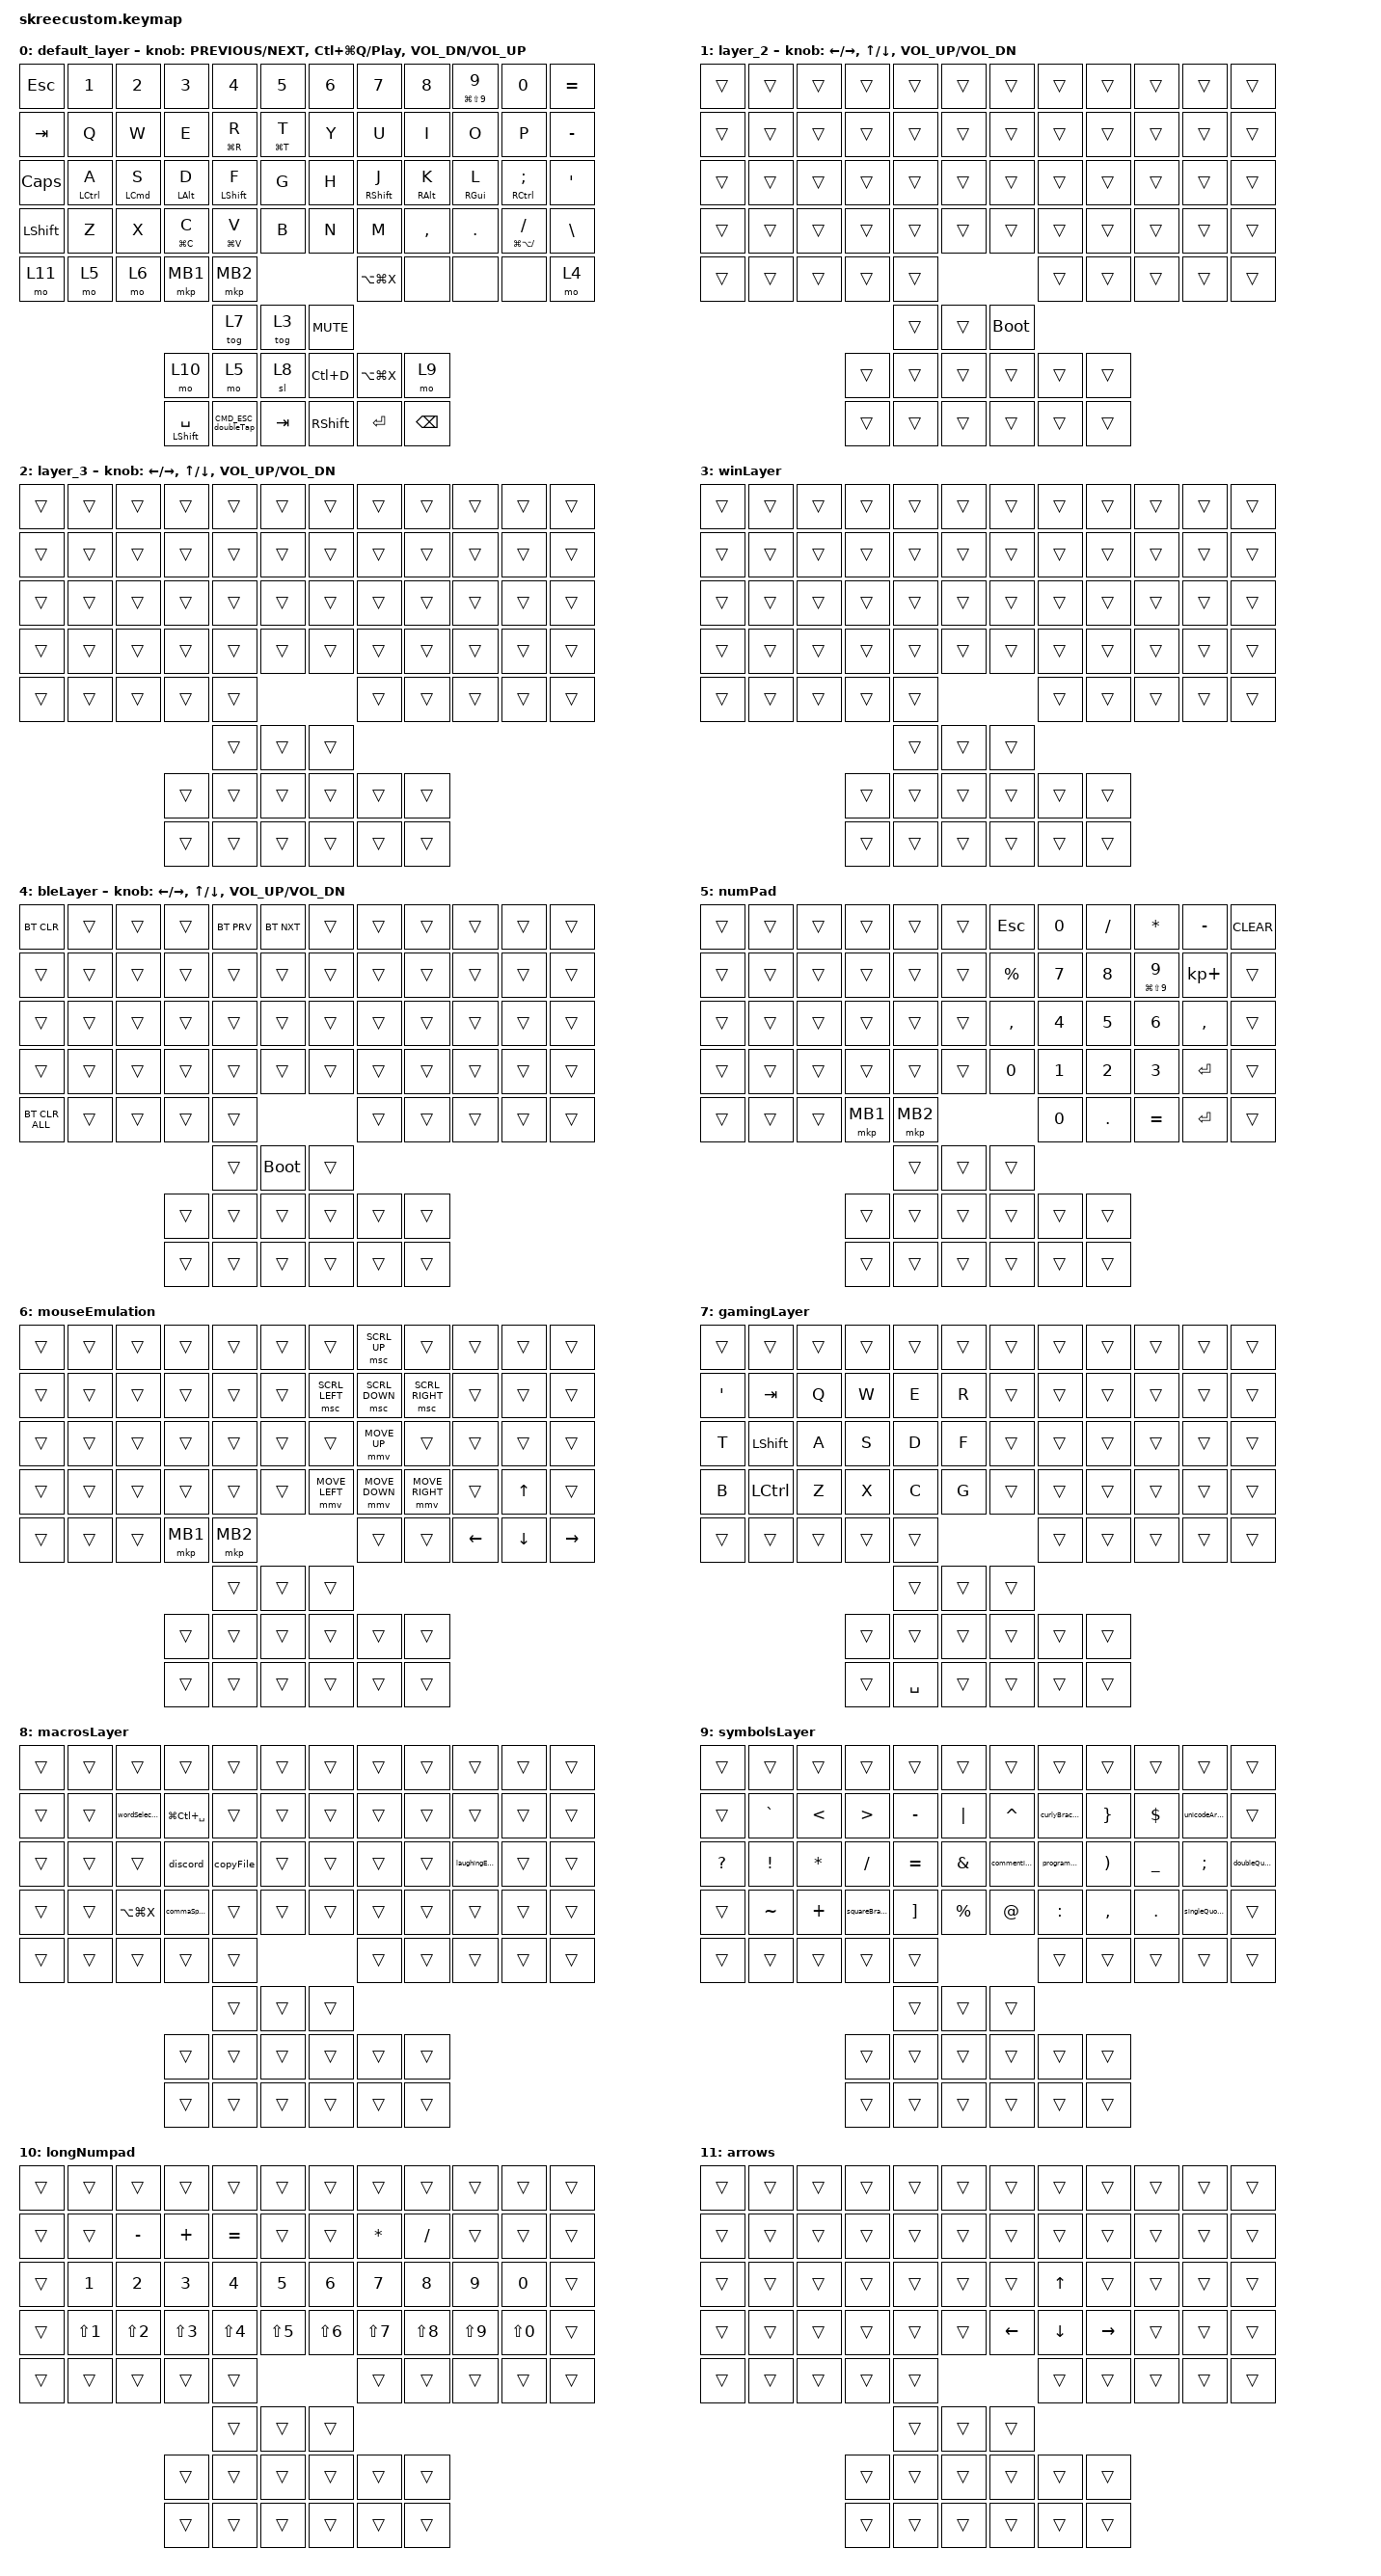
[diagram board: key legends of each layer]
/*
 * Copyright (c) 2020 The ZMK Contributors
 *
 * SPDX-License-Identifier: MIT
 */
//#include <behaviors/mouse_keys.dtsi>

#define ZMK_POINTING_DEFAULT_SCRL_VAL 140

#include <input/processors.dtsi>
#include <dt-bindings/zmk/input_transform.h>
#include <dt-bindings/zmk/mouse.h>
#include <behaviors.dtsi>
#include <dt-bindings/zmk/bt.h>
#include <dt-bindings/zmk/keys.h>
#include <dt-bindings/zmk/pointing.h>

/ {
    behaviors {
        mouse_scroll: sensor_scroll {
            compatible = "zmk,behavior-sensor-rotate-var";
            #sensor-binding-cells = <2>;
            bindings = <&msc>, <&msc>;

            tap-ms = <5>;
        };

        hmr: hmr {
            compatible = "zmk,behavior-hold-tap";
            label = "HMR";
            bindings = <&kp>, <&kp>;

            #binding-cells = <2>;
            tapping-term-ms = <300>;
            quick-tap-ms = <300>;
            require-prior-idle-ms = <300>;
            flavor = "tap-preferred";
        };

        CMD_ESC_doubleTap: CMD_ESC_doubleTap {
            compatible = "zmk,behavior-tap-dance";
            label = "CMD_ESC_DOUBLETAP";
            #binding-cells = <0>;
            bindings = <&kp LEFT_COMMAND>, <&kp ESC>;
        };

        hKeyRepeat: hKeyRepeat {
            compatible = "zmk,behavior-tap-dance";
            label = "HKEYREPEAT";
            #binding-cells = <0>;
            bindings = <&kp H>, <&key_repeat>;
        };

        symbolsLayerDoubleTap: symbolsLayerDoubleTap {
            compatible = "zmk,behavior-tap-dance";
            label = "SYMBOLSLAYERDOUBLETAP";
            #binding-cells = <0>;
            bindings = <&mo 9>, <&tog 9>;
        };

        unicodeArrowsSymbol: unicodeArrowsSymbol {
            compatible = "zmk,behavior-tap-dance";
            label = "UNICODEARROWSSYMBOL";
            #binding-cells = <0>;
            bindings = <&rightArrowUnicode>, <&doubleArrowUnicode>;
        };

        programmingParenthesisBehavior: programmingParenthesisBehavior {
            compatible = "zmk,behavior-tap-dance";
            label = "PROGRAMMINGPARENTHESISBEHAVIOR";
            #binding-cells = <0>;
            bindings = <&kp LEFT_PARENTHESIS>, <&leftParenthesisMacro>;

            tapping-term-ms = <200>;
        };

        commentingProgrammingBehavior: commentingProgrammingBehavior {
            compatible = "zmk,behavior-tap-dance";
            label = "COMMENTINGPROGRAMMINGBEHAVIOR";
            #binding-cells = <0>;
            bindings = <&kp HASH>, <&commentingMacro>;
        };

        zNumpadDT: zNumpadDT {
            compatible = "zmk,behavior-tap-dance";
            label = "ZNUMPADDT";
            #binding-cells = <0>;
            bindings = <&kp Z>, <&tog 5>;
        };

        holdMoTapKp: holdMoTapKp {
            compatible = "zmk,behavior-hold-tap";
            label = "HOLDMOTAPKP";
            bindings = <&mo>, <&kp>;

            #binding-cells = <2>;
            tapping-term-ms = <300>;
            quick-tap-ms = <300>;
            require-prior-idle-ms = <300>;
            flavor = "tap-preferred";
        };

        curlyBracketBehavior: curlyBracketBehavior {
            compatible = "zmk,behavior-tap-dance";
            label = "CURLYBRACKETBEHAVIOR";
            #binding-cells = <0>;
            tapping-term-ms = <200>;
            bindings = <&kp LEFT_BRACE>, <&curlyBracketMacro>;
        };

        doubleQuoteBehavior: doubleQuoteBehavior {
            compatible = "zmk,behavior-tap-dance";
            label = "DOUBLEQUOTEBEHAVIOR";
            #binding-cells = <0>;
            tapping-term-ms = <200>;
            bindings = <&kp DOUBLE_QUOTES>, <&doubleQuoteBehavior>;
        };

        singleQuoteBehavior: singleQuoteBehavior {
            compatible = "zmk,behavior-tap-dance";
            label = "SINGLEQUOTEBEHAVIOR";
            #binding-cells = <0>;
            tapping-term-ms = <200>;
            bindings = <&kp SINGLE_QUOTE>, <&singleQuoteMacro>;
        };

        squareBracketBehavior: squareBracketBehavior {
            compatible = "zmk,behavior-tap-dance";
            label = "SQUAREBRACKETBEHAVIOR";
            #binding-cells = <0>;
            tapping-term-ms = <200>;
            bindings = <&kp LEFT_BRACKET>, <&squareBracketMacro>;
        };
    };

    combos {
        compatible = "zmk,combos";

        CapsAndShift {
            bindings = <&hmr LSHFT CAPSLOCK>;
            key-positions = <61 66>;
        };

        warpdCombo {
            bindings = <&kp LA(LG(X))>;
            key-positions = <69 70>;
        };
    };

    macros {
        discord: discord {
            compatible = "zmk,behavior-macro";
            #binding-cells = <0>;
            bindings = <&kp LG(SPACE) &kp LS(O) &kp P &kp E &kp R &kp A &kp RET &kp LG(T) &kp H &kp T &kp T &kp P &kp S &kp COLON &kp FSLH &kp FSLH &kp D &kp I &kp S &kp C &kp O &kp R &kp D &kp DOT &kp C &kp O &kp M &kp FSLH &kp C &kp H &kp A &kp N &kp N &kp E &kp L &kp S &kp FSLH &kp AT &kp M &kp E &kp RET>;
            label = "DISCORD";
        };

        laughingEmoji: laughingEmojih {
            compatible = "zmk,behavior-macro";
            #binding-cells = <0>;
            bindings = <&kp LG(LC(SPACE)) &kp L &kp A &kp U &kp G &kp H &kp I &kp N &kp G &kp RET>;
            label = "LAUGHINGEMOJIH";
        };

        wordSelection: wordSelection {
            compatible = "zmk,behavior-macro";
            #binding-cells = <0>;
            bindings = <&kp LS(LA(RIGHT_ARROW)) &kp LG(C)>;
            label = "WORDSELECTION";
        };

        copyFile: copyFile {
            compatible = "zmk,behavior-macro";
            #binding-cells = <0>;
            bindings = <&kp LG(SPACE) &kp F &kp I &kp N &kp D &kp E &kp R &kp RET &kp DOWN &kp LG(C) &kp LG(SPACE) &kp V &kp S &kp C &kp O &kp D &kp E &kp RET &kp LG(V) &kp ENTER>;
            label = "COPYFILE";
        };

        commaSpace: commaSpace {
            compatible = "zmk,behavior-macro";
            #binding-cells = <0>;
            bindings = <&kp COMMA &kp SPACE>;
            label = "COMMASPACE";
        };

        leftParenthesisMacro: programmingParenthesis {
            compatible = "zmk,behavior-macro";
            #binding-cells = <0>;
            bindings = <&kp LPAR &kp RPAR &kp LEFT_ARROW>;
            label = "PROGRAMMINGPARENTHESIS";
        };

        rightArrowUnicode: rightArrowDoubleTap {
            compatible = "zmk,behavior-macro";
            #binding-cells = <0>;
            bindings = <&kp LG(LC(SPACE)) &kp R &kp I &kp G &kp H &kp T &kp SPACE &kp A &kp R &kp R &kp O &kp W &kp RET>;
            label = "RIGHTARROWDOUBLETAP";
        };

        doubleArrowUnicode: doubleArrowUnicode {
            compatible = "zmk,behavior-macro";
            #binding-cells = <0>;
            bindings = <&kp LG(LC(SPACE)) &kp R &kp I &kp G &kp H &kp T &kp W &kp A &kp R &kp D &kp S &kp SPACE &kp D &kp O &kp U &kp B &kp L &kp E &kp SPACE &kp A &kp R &kp R &kp O &kp W &kp RET>;
            label = "DOUBLEARROWUNICODE";
        };

        commentingMacro: commentingMacro {
            compatible = "zmk,behavior-macro";
            #binding-cells = <0>;
            bindings = <&sk LGUI &kp K &sk LEFT_COMMAND &kp C>;
            label = "COMMENTINGMACRO";
        };

        curlyBracketMacro: curlyBracketMacro {
            compatible = "zmk,behavior-macro";
            #binding-cells = <0>;
            bindings = <&kp LEFT_BRACE &kp RIGHT_BRACE &kp LEFT_ARROW>;
            label = "CURLYBRACKETMACRO";
        };

        doubleQuoteMacro: doubleQuoteMacro {
            compatible = "zmk,behavior-macro";
            #binding-cells = <0>;
            bindings = <&kp DOUBLE_QUOTES &kp DOUBLE_QUOTES &kp LEFT_ARROW>;
            label = "DOUBLEQUOTEMACRO";
        };

        singleQuoteMacro: singleQuoteMacro {
            compatible = "zmk,behavior-macro";
            #binding-cells = <0>;
            bindings = <&kp SINGLE_QUOTE &kp SINGLE_QUOTE &kp LEFT_ARROW>;
            label = "SINGLEQUOTEMACRO";
        };

        squareBracketMacro: squareBracketMacro {
            compatible = "zmk,behavior-macro";
            #binding-cells = <0>;
            bindings = <&kp LEFT_BRACKET &kp RIGHT_BRACKET &kp LEFT_ARROW>;
            label = "SQUAREBRACKETMACRO";
        };
    };

    keymap {
        compatible = "zmk,keymap";

        default_layer {
            bindings = <
&kp ESC       &kp N1               &kp N2               &kp N3            &kp N4              &kp N5          &kp N6      &kp N7         &kp N8            &hmr LG(LS(N9)) N9  &kp N0                        &kp EQUAL
&kp TAB       &kp Q                &kp W                &kp E             &hmr LG(R) R        &hmr LG(T) T    &kp Y       &kp U          &kp I             &kp O               &kp P                         &kp MINUS
&kp CAPSLOCK  &hmr LEFT_CONTROL A  &hmr LEFT_COMMAND S  &hmr LEFT_ALT D   &hmr LEFT_SHIFT F   &kp G           &kp H       &hmr RSHFT J   &hmr RIGHT_ALT K  &hmr RIGHT_GUI L    &hmr RIGHT_CONTROL SEMICOLON  &kp SQT
&kp LSHFT     &kp Z                &kp X                &hmr LG(C) C      &hmr LG(V) V        &kp B           &kp N       &kp M          &kp COMMA         &kp DOT             &hmr LG(LA(FSLH)) FSLH        &kp BSLH
&mo 11        &mo 5                &mo 6                &mkp MB1          &mkp MB2                                        &kp LA(LG(X))  &none             &none               &none                         &mo 4
                                                                          &tog 7              &tog 3          &kp C_MUTE
                                                        &mo 10            &mo 5               &sl 8           &kp LC(D)   &kp LA(LG(X))  &mo 9
                                                        &hmr LSHFT SPACE  &CMD_ESC_doubleTap  &kp TAB         &kp RSHIFT  &kp ENTER      &kp BACKSPACE
            >;

            sensor-bindings =
                <&inc_dec_kp C_PREVIOUS C_NEXT>,
                <&inc_dec_kp LC(LG(Q)) C_PLAY_PAUSE>,
                <&inc_dec_kp C_VOL_DN C_VOL_UP>;
        };

        layer_2 {
            bindings = <
&trans  &trans  &trans  &trans  &trans  &trans    &trans       &trans  &trans  &trans  &trans  &trans
&trans  &trans  &trans  &trans  &trans  &trans    &trans       &trans  &trans  &trans  &trans  &trans
&trans  &trans  &trans  &trans  &trans  &trans    &trans       &trans  &trans  &trans  &trans  &trans
&trans  &trans  &trans  &trans  &trans  &trans    &trans       &trans  &trans  &trans  &trans  &trans
&trans  &trans  &trans  &trans  &trans                         &trans  &trans  &trans  &trans  &trans
                                &trans  &trans    &bootloader
                        &trans  &trans  &trans    &trans       &trans  &trans
                        &trans  &trans  &trans    &trans       &trans  &trans
            >;

            sensor-bindings =
                <&inc_dec_kp LEFT_ARROW RIGHT_ARROW>,
                <&inc_dec_kp UP_ARROW DOWN_ARROW>,
                <&inc_dec_kp C_VOL_UP C_VOL_DN>;
        };

        layer_3 {
            bindings = <
&trans  &trans  &trans  &trans  &trans  &trans    &trans  &trans  &trans  &trans  &trans  &trans
&trans  &trans  &trans  &trans  &trans  &trans    &trans  &trans  &trans  &trans  &trans  &trans
&trans  &trans  &trans  &trans  &trans  &trans    &trans  &trans  &trans  &trans  &trans  &trans
&trans  &trans  &trans  &trans  &trans  &trans    &trans  &trans  &trans  &trans  &trans  &trans
&trans  &trans  &trans  &trans  &trans                    &trans  &trans  &trans  &trans  &trans
                                &trans  &trans    &trans
                        &trans  &trans  &trans    &trans  &trans  &trans
                        &trans  &trans  &trans    &trans  &trans  &trans
            >;

            sensor-bindings =
                <&inc_dec_kp LEFT_ARROW RIGHT_ARROW>,
                <&inc_dec_kp UP_ARROW DOWN_ARROW>,
                <&inc_dec_kp C_VOL_UP C_VOL_DN>;
        };

        winLayer {
            bindings = <
&trans  &trans  &trans  &trans  &trans  &trans    &trans  &trans  &trans  &trans  &trans  &trans
&trans  &trans  &trans  &trans  &trans  &trans    &trans  &trans  &trans  &trans  &trans  &trans
&trans  &trans  &trans  &trans  &trans  &trans    &trans  &trans  &trans  &trans  &trans  &trans
&trans  &trans  &trans  &trans  &trans  &trans    &trans  &trans  &trans  &trans  &trans  &trans
&trans  &trans  &trans  &trans  &trans                    &trans  &trans  &trans  &trans  &trans
                                &trans  &trans    &trans
                        &trans  &trans  &trans    &trans  &trans  &trans
                        &trans  &trans  &trans    &trans  &trans  &trans
            >;
        };

        bleLayer {
            bindings = <
&bt BT_CLR      &trans  &trans  &trans  &bt BT_PRV  &bt BT_NXT     &trans  &trans  &trans  &trans  &trans  &trans
&trans          &trans  &trans  &trans  &trans      &trans         &trans  &trans  &trans  &trans  &trans  &trans
&trans          &trans  &trans  &trans  &trans      &trans         &trans  &trans  &trans  &trans  &trans  &trans
&trans          &trans  &trans  &trans  &trans      &trans         &trans  &trans  &trans  &trans  &trans  &trans
&bt BT_CLR_ALL  &trans  &trans  &trans  &trans                             &trans  &trans  &trans  &trans  &trans
                                        &trans      &bootloader    &trans
                                &trans  &trans      &trans         &trans  &trans  &trans
                                &trans  &trans      &trans         &trans  &trans  &trans
            >;

            sensor-bindings =
                <&inc_dec_kp LEFT_ARROW RIGHT_ARROW>,
                <&inc_dec_kp UP_ARROW DOWN_ARROW>,
                <&inc_dec_kp C_VOL_UP C_VOL_DN>;
        };

        numPad {
            bindings = <
&trans  &trans  &trans  &trans    &trans    &trans    &kp ESCAPE   &kp N0        &kp SLASH     &kp ASTERISK        &kp MINUS    &kp CLEAR
&trans  &trans  &trans  &trans    &trans    &trans    &kp PERCENT  &kp N7        &kp N8        &hmr LG(LS(N9)) N9  &kp KP_PLUS  &trans
&trans  &trans  &trans  &trans    &trans    &trans    &kp COMMA    &kp NUMBER_4  &kp N5        &kp NUMBER_6        &kp COMMA    &trans
&trans  &trans  &trans  &trans    &trans    &trans    &kp N0       &kp NUMBER_1  &kp NUMBER_2  &kp NUMBER_3        &kp RETURN   &trans
&trans  &trans  &trans  &mkp MB1  &mkp MB2                         &kp N0        &kp PERIOD    &kp EQUAL           &kp ENTER    &trans
                                  &trans    &trans    &trans
                        &trans    &trans    &trans    &trans       &trans        &trans
                        &trans    &trans    &trans    &trans       &trans        &trans
            >;
        };

        mouseEmulation {
            bindings = <
&trans  &trans  &trans  &trans    &trans    &trans    &trans          &msc SCRL_UP    &trans           &trans    &trans          &trans
&trans  &trans  &trans  &trans    &trans    &trans    &msc SCRL_LEFT  &msc SCRL_DOWN  &msc SCRL_RIGHT  &trans    &trans          &trans
&trans  &trans  &trans  &trans    &trans    &trans    &trans          &mmv MOVE_UP    &trans           &trans    &trans          &trans
&trans  &trans  &trans  &trans    &trans    &trans    &mmv MOVE_LEFT  &mmv MOVE_DOWN  &mmv MOVE_RIGHT  &trans    &kp UP_ARROW    &trans
&trans  &trans  &trans  &mkp MB1  &mkp MB2                            &trans          &trans           &kp LEFT  &kp DOWN_ARROW  &kp RIGHT
                                  &trans    &trans    &trans
                        &trans    &trans    &trans    &trans          &trans          &trans
                        &trans    &trans    &trans    &trans          &trans          &trans
            >;
        };

        gamingLayer {
            bindings = <
&trans    &trans     &trans  &trans  &trans     &trans    &trans  &trans  &trans  &trans  &trans  &trans
&kp APOS  &kp TAB    &kp Q   &kp W   &kp E      &kp R     &trans  &trans  &trans  &trans  &trans  &trans
&kp T     &kp LSHFT  &kp A   &kp S   &kp D      &kp F     &trans  &trans  &trans  &trans  &trans  &trans
&kp B     &kp LCTRL  &kp Z   &kp X   &kp C      &kp G     &trans  &trans  &trans  &trans  &trans  &trans
&trans    &trans     &trans  &trans  &trans                       &trans  &trans  &trans  &trans  &trans
                                     &trans     &trans    &trans
                             &trans  &trans     &trans    &trans  &trans  &trans
                             &trans  &kp SPACE  &trans    &trans  &trans  &trans
            >;
        };

        macrosLayer {
            bindings = <
&trans  &trans  &trans          &trans             &trans     &trans    &trans  &trans  &trans  &trans          &trans  &trans
&trans  &trans  &wordSelection  &kp LG(LC(SPACE))  &trans     &trans    &trans  &trans  &trans  &trans          &trans  &trans
&trans  &trans  &trans          &discord           &copyFile  &trans    &trans  &trans  &trans  &laughingEmoji  &trans  &trans
&trans  &trans  &kp LA(LG(X))   &commaSpace        &trans     &trans    &trans  &trans  &trans  &trans          &trans  &trans
&trans  &trans  &trans          &trans             &trans                       &trans  &trans  &trans          &trans  &trans
                                                   &trans     &trans    &trans
                                &trans             &trans     &trans    &trans  &trans  &trans
                                &trans             &trans     &trans    &trans  &trans  &trans
            >;
        };

        symbolsLayer {
            bindings = <
&trans        &trans     &trans         &trans                  &trans     &trans           &trans                          &trans                           &trans                 &trans      &trans                &trans
&trans        &kp GRAVE  &kp LESS_THAN  &kp GREATER_THAN        &kp MINUS  &kp PIPE         &kp CARET                       &curlyBracketBehavior            &kp RIGHT_BRACE        &kp DOLLAR  &unicodeArrowsSymbol  &trans
&kp QUESTION  &kp EXCL   &kp ASTRK      &kp FSLH                &kp EQUAL  &kp AMPERSAND    &commentingProgrammingBehavior  &programmingParenthesisBehavior  &kp RIGHT_PARENTHESIS  &kp UNDER   &kp SEMICOLON         &doubleQuoteBehavior
&trans        &kp TILDE  &kp PLUS       &squareBracketBehavior  &kp RBKT   &kp PERCENT      &kp AT                          &kp COLON                        &kp COMMA              &kp DOT     &singleQuoteBehavior  &trans
&trans        &trans     &trans         &trans                  &trans                                                      &trans                           &trans                 &trans      &trans                &trans
                                                                &trans     &trans           &trans
                                        &trans                  &trans     &trans           &trans                          &trans                           &trans
                                        &trans                  &trans     &trans           &trans                          &trans                           &trans
            >;
        };

        longNumpad {
            bindings = <
&trans  &trans            &trans            &trans            &trans            &trans        &trans            &trans        &trans      &trans      &trans      &trans
&trans  &trans            &kp MINUS         &kp PLUS          &kp EQUAL         &trans        &trans            &kp ASTERISK  &kp SLASH   &trans      &trans      &trans
&trans  &kp N1            &kp N2            &kp N3            &kp N4            &kp N5        &kp N6            &kp N7        &kp N8      &kp N9      &kp N0      &trans
&trans  &kp LS(NUMBER_1)  &kp LS(NUMBER_2)  &kp LS(NUMBER_3)  &kp LS(NUMBER_4)  &kp LS(N5)    &kp LS(NUMBER_6)  &kp LS(N7)    &kp LS(N8)  &kp LS(N9)  &kp LS(N0)  &trans
&trans  &trans            &trans            &trans            &trans                                            &trans        &trans      &trans      &trans      &trans
                                                              &trans            &trans        &trans
                                            &trans            &trans            &trans        &trans            &trans        &trans
                                            &trans            &trans            &trans        &trans            &trans        &trans
            >;
        };

        arrows {
            bindings = <
&trans  &trans  &trans  &trans  &trans  &trans    &trans          &trans        &trans     &trans  &trans  &trans
&trans  &trans  &trans  &trans  &trans  &trans    &trans          &trans        &trans     &trans  &trans  &trans
&trans  &trans  &trans  &trans  &trans  &trans    &trans          &kp UP_ARROW  &trans     &trans  &trans  &trans
&trans  &trans  &trans  &trans  &trans  &trans    &kp LEFT_ARROW  &kp DOWN      &kp RIGHT  &trans  &trans  &trans
&trans  &trans  &trans  &trans  &trans                            &trans        &trans     &trans  &trans  &trans
                                &trans  &trans    &trans
                        &trans  &trans  &trans    &trans          &trans        &trans
                        &trans  &trans  &trans    &trans          &trans        &trans
            >;
        };
    };
};
